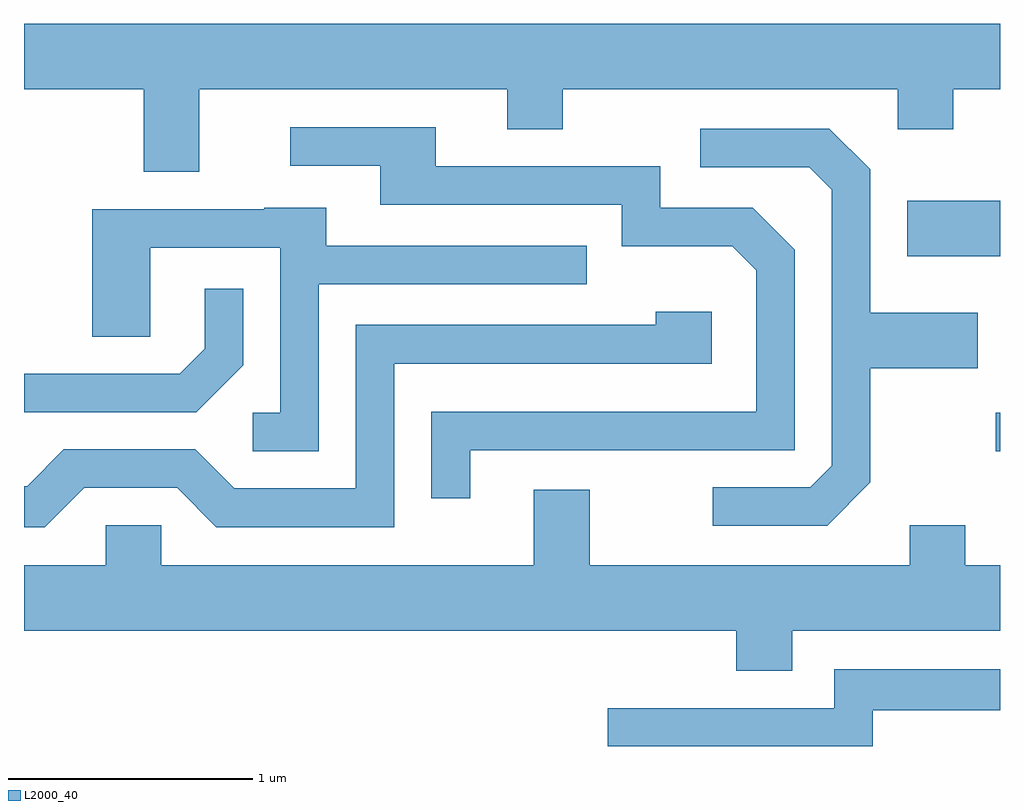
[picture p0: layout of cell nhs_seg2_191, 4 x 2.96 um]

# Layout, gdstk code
import gdstk
lib = gdstk.Library(unit=1e-6, precision=1e-09)
def R(c, l, rs):  # rectangles x0, y0, x1, y1
    for r in rs: c.add(gdstk.rectangle(r[:2], r[2:], *l))
def P(c, l, *ps):  # polygons
    for p in ps: c.add(gdstk.Polygon(p, *l))
L2000_40 = (2000, 40)

nhs_seg2_191 = lib.new_cell('nhs_seg2_191')
R(nhs_seg2_191, L2000_40, [(193.593,1089.011,193.611,1089.169), (193.231,1089.811,193.611,1090.039)])
P(nhs_seg2_191, L2000_40, [(190.329,1090.496),(191.591,1090.496),(191.591,1090.331),(191.819,1090.331),(191.819,1090.496),(193.191,1090.496),(193.191,1090.331),(193.419,1090.331),(193.419,1090.496),(193.611,1090.496),(193.611,1090.764),(189.611,1090.764),(189.611,1090.496),(190.101,1090.496),(190.101,1090.156),(190.329,1090.156)],
  [(191.439,1089.016),(192.769,1089.016),(192.769,1089.837),(192.597,1090.009),(192.219,1090.009),(192.219,1090.179),(191.299,1090.179),(191.299,1090.339),(190.703,1090.339),(190.703,1090.181),(191.071,1090.181),(191.071,1090.021),(192.061,1090.021),(192.061,1089.851),(192.514,1089.851),(192.611,1089.754),(192.611,1089.174),(191.281,1089.174),(191.281,1088.818),(191.439,1088.818)],
  [(193.079,1088.884),(193.079,1089.351),(193.519,1089.351),(193.519,1089.579),(193.079,1089.579),(193.079,1090.167),(192.912,1090.334),(192.383,1090.334),(192.383,1090.176),(192.829,1090.176),(192.921,1090.084),(192.921,1088.952),(192.834,1088.864),(192.433,1088.864),(192.433,1088.706),(192.902,1088.706)],
  [(190.819,1089.696),(191.918,1089.696),(191.918,1089.854),(190.849,1089.854),(190.849,1090.009),(190.595,1090.009),(190.595,1090.004),(189.891,1090.004),(189.891,1089.481),(190.129,1089.481),(190.129,1089.846),(190.661,1089.846),(190.661,1089.169),(190.548,1089.169),(190.548,1089.011),(190.819,1089.011)],
  [(190.509,1089.364),(190.509,1089.678),(190.351,1089.678),(190.351,1089.432),(190.249,1089.329),(189.611,1089.329),(189.611,1089.171),(190.317,1089.171)],
  [(189.857,1088.861),(190.239,1088.861),(190.399,1088.701),(191.129,1088.701),(191.129,1089.371),(192.429,1089.371),(192.429,1089.584),(192.201,1089.584),(192.201,1089.529),(190.971,1089.529),(190.971,1088.859),(190.472,1088.859),(190.312,1089.019),(189.774,1089.019),(189.624,1088.869),(189.611,1088.869),(189.611,1088.701),(189.697,1088.701)],
  [(192.759,1088.276),(193.611,1088.276),(193.611,1088.544),(193.469,1088.544),(193.469,1088.709),(193.241,1088.709),(193.241,1088.544),(191.929,1088.544),(191.929,1088.854),(191.701,1088.854),(191.701,1088.544),(190.174,1088.544),(190.174,1088.709),(189.946,1088.709),(189.946,1088.544),(189.611,1088.544),(189.611,1088.276),(192.531,1088.276),(192.531,1088.111),(192.759,1088.111)],
  [(193.089,1087.951),(193.611,1087.951),(193.611,1088.119),(192.931,1088.119),(192.931,1087.959),(192.003,1087.959),(192.003,1087.802),(193.089,1087.802)])

lib.write_gds('nhs_seg2_191.gds')
